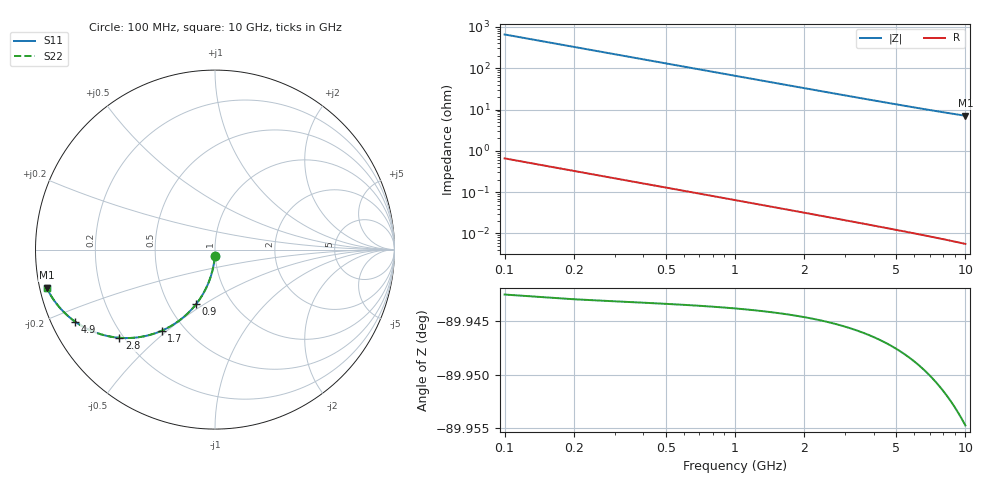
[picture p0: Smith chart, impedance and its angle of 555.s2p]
# Hz S RI R 50.00
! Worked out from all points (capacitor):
!   100 points, 100 MHz to 10 GHz, reference 50 ohm
!   read as one part in shunt: C = 2.43 pF near 100 MHz
!   lowest |Z| = 7.07 ohm at 10 GHz (marker M1)
!   S11 on the Smith chart (normalised r, x): 100 MHz: 0.99, -0.08; 900 MHz: 0.68, -0.46; 1.7 GHz: 0.38, -0.48; 2.8 GHz: 0.18, -0.38; 4.9 GHz: 0.07, -0.24; 10 GHz: 0.02, -0.11
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1e8  -0.00145 -0.0379  0.9985 -0.0384  0.9985 -0.0384  -0.00145 -0.0379
2e8  -0.00582 -0.0754  0.9941 -0.0764  0.9941 -0.0764  -0.00582 -0.0754
3e8  -0.013 -0.1122  0.9869 -0.1137  0.9869 -0.1137  -0.013 -0.1122
4e8  -0.0229 -0.1481  0.977 -0.1501  0.977 -0.1501  -0.0229 -0.1481
5e8  -0.0352 -0.1828  0.9647 -0.1853  0.9647 -0.1853  -0.0352 -0.1828
6e8  -0.05 -0.2159  0.9499 -0.219  0.9499 -0.219  -0.05 -0.2159
7e8  -0.0668 -0.2474  0.9331 -0.251  0.9331 -0.251  -0.0668 -0.2474
9e8  -0.1057 -0.3047  0.8942 -0.3093  0.8942 -0.3093  -0.1057 -0.3047
1.1e9  -0.15 -0.3538  0.8499 -0.3594  0.8499 -0.3594  -0.15 -0.3538
1.3e9  -0.1976 -0.3945  0.8022 -0.401  0.8022 -0.401  -0.1976 -0.3945
1.7e9  -0.2963 -0.4519  0.7036 -0.4604  0.7036 -0.4604  -0.2963 -0.4519
1.8e9  -0.3206 -0.4617  0.6792 -0.4708  0.6792 -0.4708  -0.3206 -0.4617
2.3e9  -0.4352 -0.4895  0.5647 -0.5011  0.5647 -0.5011  -0.4352 -0.4895
2.8e9  -0.5332 -0.4913  0.4666 -0.5055  0.4666 -0.5055  -0.5332 -0.4913
3.4e9  -0.6276 -0.4742  0.3722 -0.4916  0.3722 -0.4916  -0.6276 -0.4742
4.1e9  -0.7104 -0.4424  0.2892 -0.4635  0.2892 -0.4635  -0.7104 -0.4424
4.9e9  -0.7784 -0.402  0.2212 -0.4274  0.2212 -0.4274  -0.7784 -0.402
5.1e9  -0.792 -0.392  0.2076 -0.4185  0.2076 -0.4185  -0.792 -0.392
5.8e9  -0.8316 -0.3583  0.1679 -0.3886  0.1679 -0.3886  -0.8316 -0.3583
6.7e9  -0.8687 -0.3192  0.1306 -0.3545  0.1306 -0.3545  -0.8687 -0.3192
8.4e9  -0.913 -0.2579  0.0859 -0.303  0.0859 -0.303  -0.913 -0.2579
1e10  -0.9376 -0.2126  0.0608 -0.2671  0.0608 -0.2671  -0.9376 -0.2126
